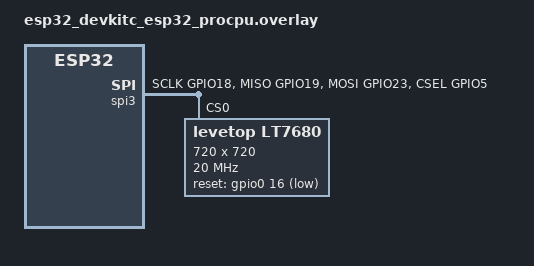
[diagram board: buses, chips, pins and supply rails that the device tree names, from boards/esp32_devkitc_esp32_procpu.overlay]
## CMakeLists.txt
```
cmake_minimum_required(VERSION 3.20.0)
find_package(Zephyr REQUIRED HINTS $ENV{ZEPHYR_BASE})
project(er_tft395_demo)

target_sources(app PRIVATE src/main.c src/lt7680_hw.c src/nv3052.c src/pic80.c)
target_include_directories(app PRIVATE src)
```

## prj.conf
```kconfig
CONFIG_LOG=y
CONFIG_SPI=y
CONFIG_GPIO=y

# Upstream LT7680 driver: PLL/SDRAM/panel timing/blanking/blit (display API)
CONFIG_DISPLAY=y
CONFIG_DISPLAY_LOG_LEVEL_INF=y
# one SPI transaction per pixel burst instead of polling the FIFO per byte
CONFIG_LT7680_TRANSMIT_DATA_AS_BURST=y

CONFIG_MAIN_STACK_SIZE=4096
```

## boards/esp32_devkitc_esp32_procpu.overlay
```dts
/*
 * ER-TFT3.95-1 (LT7680 + 720x720 RGB panel) on ESP32-WROOM-32 DevKitC
 * Values taken from the EastRising ESP32 tutorial (Display_DMA_Cartoon_Font_test: LCD.h, LCD.cpp, .ino).
 *
 * Wiring (from the tutorial):
 *   LT7680 SPI : CS=GPIO5  MISO=GPIO19  MOSI=GPIO23  SCK=GPIO18  RES=GPIO16
 *   Panel init : CS=GPIO14  SDI=GPIO12  SCK=GPIO13   (separate 9-bit SPI, see note at bottom)
 *
 * Build (from the project root):
 *   west build -b esp32_devkitc/esp32/procpu .
 */

#include <zephyr/dt-bindings/gpio/gpio.h>
#include <zephyr/dt-bindings/spi/spi.h>

&pinctrl {
	spim3_default: spim3_default {
		group1 {
			pinmux = <SPIM3_SCLK_GPIO18>,
				 <SPIM3_MISO_GPIO19>,
				 <SPIM3_MOSI_GPIO23>;
		};
		group2 {
			pinmux = <SPIM3_CSEL_GPIO5>;
			output-high;
		};
	};
};

&spi3 {
	status = "okay";
	pinctrl-0 = <&spim3_default>;
	pinctrl-names = "default";

	lt7680: lt7680@0 {
		compatible = "levetop,lt7680";
		zephyr,deferred-init;
		reg = <0>;
		spi-max-frequency = <20000000>;     /* tutorial: SPISettings(20000000, MSBFIRST, SPI_MODE0) */

		width = <720>;                      /* LCD_XSIZE_TFT */
		height = <720>;                     /* LCD_YSIZE_TFT */
		x-offset = <0>;
		y-offset = <0>;
		reset-gpios = <&gpio0 16 GPIO_ACTIVE_LOW>;   /* LCM_RESET = 16 */
		reset-delay-ms = <100>;
		rotation = <0>;

		/*
		 * Panel timing from LCD.h. The driver also checks that the
		 * "clock-frequency" it is given is the 10 MHz crystal (OSC_FREQ 10 in
		 * the tutorial). UNVERIFIED: I could not read how the driver binds
		 * these (child node vs. properties on the lt7680 node). If the build
		 * complains, check drivers/display/display_lt7680.c in your tree and
		 * move these properties to wherever it reads them.
		 */
		display-timings {
			compatible = "zephyr,panel-timing";
			clock-frequency = <10000000>;
			hsync-len = <5>;       /* LCD_HSPW */
			hfront-porch = <15>;   /* LCD_HFPD */
			hback-porch = <80>;    /* LCD_HBPD */
			vsync-len = <5>;       /* LCD_VSPW */
			vfront-porch = <15>;   /* LCD_VFPD */
			vback-porch = <20>;    /* LCD_VBPD */
			hsync-active = <0>;    /* LCD_HSYNC_Active_Polarity */
			vsync-active = <0>;    /* LCD_VSYNC_Active_Polarity */
			de-active = <1>;       /* LCD_DE_Active_Polarity */
			pixelclk-active = <0>; /* LCD_PCLK_Falling_Rising = rising */
		};
	};
};

/ {
	chosen {
		zephyr,display = &lt7680;
	};
};

/*
 * NOTE: the tutorial's LCD_init.h (nv3052_Initial, ~158 command/data pairs for the
 * NV3052 panel controller) is sent over a bit-banged 9-bit SPI (CS=14, SDI=12, SCK=13) before the
 * LT7680 output is useful. The upstream Zephyr driver does not do this, so
 * the app must replay that sequence (e.g. a small GPIO bit-bang routine) at boot.
 */
```

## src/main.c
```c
/*
 * Zephyr port of EastRising's Display_DMA_Cartoon_Font_test (ER-TFT3.95-1,
 * ESP32).
 *
 * Split of responsibilities:
 *   - upstream driver (display API): PLL, SDRAM, panel timing, blanking, pixel
 * blit
 *   - nv3052.c:                      panel controller init over bit-banged
 * 9-bit SPI
 *   - lt7680_hw.c:                   LT7680 2D engine, BTE, flash DMA,
 * CGROM/external fonts
 *
 * The flash image FLASH_bin/PicFlashFont.bin must already be programmed into
 * the serial flash attached to the LT7680 (see the tutorial's "READ ME"); the
 * ESP32 never touches that flash.
 */
#include "lt7680_hw.h"
#include "nv3052.h"
#include "pic80.h"
#include <zephyr/device.h>
#include <zephyr/drivers/display.h>
#include <zephyr/kernel.h>
#include <zephyr/logging/log.h>

LOG_MODULE_REGISTER(app, LOG_LEVEL_INF);

#define W LCD_XSIZE_TFT
#define H LCD_YSIZE_TFT

/* Flash map (PicFlashFont-Addr.txt) */
#define Picture_1_Addr 0x00000000u
#define Cartoon_Addr 0x003F4800u
#define FLASH_ADDR_16 0x005AA398u
#define FLASH_ADDR_24 0x005EB798u
#define FLASH_ADDR_32 0x0067E498u

#define SIZE_16_NUM 267264u
#define SIZE_24_NUM 601344u
#define SIZE_32_NUM 1069056u

#define MEMORY_ADDR_16 layer5_start_addr
#define MEMORY_ADDR_24 (MEMORY_ADDR_16 + SIZE_16_NUM)
#define MEMORY_ADDR_32 (MEMORY_ADDR_24 + SIZE_24_NUM)

#define BL_PIN 26

static const struct device *const disp =
    DEVICE_DT_GET(DT_CHOSEN(zephyr_display));

/* GBK string from the tutorial */
static const uint8_t gbk_str[] = {0xD0, 0xF1, 0xC8, 0xD5, 0xB6, 0xAB, 0xB7,
                                  0xBD, 0xBF, 0xC6, 0xBC, 0xBC, 0x00};

static uint16_t pic_px[80 * 80]; /* pic_80x80 converted to native RGB565 for
                                    display_write() */

/* ------------------------------------------------------------------ helpers */

static void layer1_setup(uint32_t canvas_addr) {
  lt_main_window_16bpp();
  lt_main_image(layer1_start_addr, W);
  lt_main_window_xy(0, 0);
  lt_canvas(canvas_addr, W);
  lt_active_xy(0, 0);
  lt_active_wh(W, H);
}

static void clear_black(void) {
  lt_fg(Black);
  lt_fill_rect(0, 0, W - 1, H - 1, Black);
}

/* Blit the 80x80 picture through the upstream display API */
static void show_pic(uint16_t x, uint16_t y) {
  const struct display_buffer_descriptor d = {
      .buf_size = sizeof(pic_px),
      .width = 80,
      .height = 80,
      .pitch = 80,
  };

  display_write(disp, x, y, &d, pic_px);
}

/* ------------------------------------------------------------------- demos */

static void demo_colors(void) {
  static const uint16_t c[] = {Red,    Green,  Blue,  Cyan,
                               Yellow, Purple, Black, White};

  layer1_setup(0);
  for (int i = 0; i < ARRAY_SIZE(c); i++) {
    lt_fill_rect(0, 0, W, H, c[i]);
    k_msleep(1000);
  }
}

/* grow, then erase, using one engine primitive */
#define GROW_ERASE(step_max, color, body)                                      \
  do {                                                                         \
    for (int i = 0; i <= (step_max); i += 8) {                                 \
      lt_fg(color);                                                            \
      body;                                                                    \
      k_msleep(10);                                                            \
    }                                                                          \
    for (int i = 0; i <= (step_max); i += 8) {                                 \
      lt_fg(Black);                                                            \
      body;                                                                    \
      k_msleep(10);                                                            \
    }                                                                          \
    k_msleep(100);                                                             \
  } while (0)

static void demo_shapes(void) {
  layer1_setup(layer1_start_addr);

  clear_black();
  GROW_ERASE(W / 2 - 10, Red, lt_rect(i, i, W - 1 - i, H - 1 - i));

  clear_black();
  GROW_ERASE(W / 2 - 10, Green,
             lt_round_rect(i, i, W - 1 - i, H - 1 - i, 10, 10));

  clear_black();
  GROW_ERASE(W / 2 - 10, Blue, lt_circle(W / 2, H / 2, i));

  clear_black();
  GROW_ERASE(W / 2 - 100, White, lt_ellipse(W / 2, H / 2, i + 100, i));

  clear_black();
  GROW_ERASE(W / 2 - 10, Yellow,
             lt_triangle(W / 2, i, i, H - 1 - i, W - 1 - i, H - 1 - i));

  clear_black();
  /* lines: two sweeps in red, then erased in black */
  for (int pass = 0; pass < 2; pass++) {
    uint16_t col = pass ? Black : Red;

    lt_fg(col);
    for (int i = 0; i <= W; i += 8) {
      lt_line(i, 0, W - 1 - i, H - 1);
      k_msleep(10);
    }
    for (int i = 0; i <= H; i += 8) {
      lt_line(0, H - 1 - i, W - 1, i);
      k_msleep(10);
    }
  }
  k_msleep(100);
}

static void demo_internal_text(void) {
  layer1_setup(layer1_start_addr);
  clear_black();

  lt_bg(Black);
  lt_fg(Red);
  lt_cgrom_internal();
  lt_font_select(LT_FONT_8x16);
  lt_text_xy(0, 10);
  lt_show_string("buydisplay.com");

  lt_fg(Green);
  lt_font_select(LT_FONT_12x24);
  lt_text_xy(0, 26);
  lt_show_string("buydisplay.com");

  lt_fg(Blue);
  lt_font_select(LT_FONT_16x32);
  lt_text_xy(0, 50);
  lt_show_string("buydisplay.com");

  lt_fg(Yellow);
  lt_font_scale(4, 4);
  lt_text_xy(0, 90);
  lt_show_string("buydisplay.com");
  k_msleep(2000);
}

static void ext_font_row(uint16_t y, uint16_t fg, uint16_t bg, uint8_t scale) {
  lt_font_scale(scale, scale);
  lt_ext_font_print(0, y, fg, bg, gbk_str);
}

static void demo_external_font(void) {
  layer1_setup(0);
  lt_fill_rect(0, 0, W, H, Black);

  /* 16x16 */
  lt_ext_font_init(1, 0, FLASH_ADDR_16, MEMORY_ADDR_16, SIZE_16_NUM,
                   LT_FONT_8x16, 1, 1, false, false);
  lt_ext_font_print(0, 50, Red, White, gbk_str);
  ext_font_row(75, LIGHTRED, Black, 2);
  ext_font_row(120, Blue, White, 3);
  ext_font_row(178, Purple, Black, 4);
  k_msleep(3000);

  /* 24x24 */
  lt_ext_font_init(1, 0, FLASH_ADDR_24, MEMORY_ADDR_24, SIZE_24_NUM,
                   LT_FONT_12x24, 1, 1, false, false);
  lt_fill_rect(0, 0, W, H, Blue);
  lt_ext_font_print(0, 20, Red, White, gbk_str);
  ext_font_row(55, Green, Black, 2);
  ext_font_row(115, Cyan, White, 3);
  ext_font_row(195, Yellow, Black, 4);
  k_msleep(3000);

  /* 32x32 */
  lt_ext_font_init(1, 0, FLASH_ADDR_32, MEMORY_ADDR_32, SIZE_32_NUM,
                   LT_FONT_16x32, 1, 1, false, false);
  lt_fill_rect(0, 0, W, H, White);
  lt_ext_font_print(0, 55, Red, White, gbk_str);
  ext_font_row(115, Green, Black, 2);
  ext_font_row(200, Blue, White, 3);
  ext_font_row(310, Yellow, Black, 4);
  k_msleep(3000);
}

static void demo_bte(void) {
  layer1_setup(0);

  lt_fg(Black);
  lt_fill_rect(0, 0, W - 1, H - 25, Black);
  lt_fill_rect(0, H - 24, W - 1, H - 1, Blue);

  lt_fg(White);
  lt_bg(Blue);
  lt_cgrom_internal();
  lt_font_scale(1, 1);
  lt_font_select(LT_FONT_12x24);
  lt_text_xy(0, H - 24);
  lt_show_string("  Demo BTE Compare");

  lt_fg(Black);
  lt_bg(White);
  lt_font_select(LT_FONT_8x16);
  lt_text_xy(0, H - 48);
  lt_show_string("Execute Logic 'OR' 0xf000");

  /* three copies of the picture via the upstream display_write() */
  show_pic(20, 40);
  show_pic(120, 40);
  show_pic(220, 40);

  lt_active_xy(0, 0);
  lt_active_wh(W, H);
  lt_fg(Black);
  lt_bg(White);
  lt_cgrom_internal();
  lt_font_select(LT_FONT_8x16);
  lt_text_xy(20, 130);
  lt_show_string("Without BTE");
  lt_text_xy(120, 130);
  lt_show_string("BTE Write");
  lt_text_xy(120, 150);
  lt_show_string("ROP");
  lt_text_xy(220, 130);
  lt_show_string("BTE Move");
  lt_text_xy(220, 150);
  lt_show_string("ROP");
  k_msleep(1000);

  /* 1) MCU read-modify-write: OR 0xf000 into first picture (raw memory port) */
  lt_active_xy(20, 40);
  lt_active_wh(80, 80);
  lt_goto_pixel(20, 40);
  lt_mem_port_select();
  (void)lt_data_read(); /* dummy */
  lt_wait_rd_fifo_not_empty();
  for (int i = 0; i < 80 * 80; i++) {
    uint16_t px = lt_data_read();

    px |= (uint16_t)lt_data_read() << 8;
    lt_wait_rd_fifo_not_empty();
    px |= 0xf000;
    lt_data_write(px & 0xff);
    lt_data_write(px >> 8);
    lt_wait_wr_fifo_not_full();
  }
  lt_active_xy(0, 0);
  lt_active_wh(W, H);
  k_msleep(1000);

  /* 2) BTE write with ROP: stream 0xf000 into the second picture */
  lt_bte_setup_16bpp(0, W, 120, 40, 0, W, 120, 40, 80, 80, 14, 0);
  lt_bte_enable();
  lt_mem_port_select();
  for (int i = 0; i < 80 * 80; i++) {
    lt_data_write(0xf000 & 0xff);
    lt_data_write(0xf000 >> 8);
    lt_wait_wr_fifo_not_full();
  }
  lt_wait_wr_fifo_empty();
  lt_wait_2d_idle();
  k_msleep(1000);

  /* 3) BTE move with ROP using a red source block on layer 2 */
  lt_canvas(layer2_start_addr, W);
  lt_active_xy(0, 0);
  lt_active_wh(W, H);
  lt_fg(0xf000);
  lt_bg(Black);
  lt_fill_rect(0, 40, 80, 120, 0xf000);

  lt_bte_copy(layer2_start_addr, W, 0, 40, layer1_start_addr, W, 220, 40,
              layer1_start_addr, W, 220, 40, 14, 80, 80);
  k_msleep(1000);
  lt_bte_disable();
}

static void demo_dma_pictures(void) {
  layer1_setup(layer1_start_addr);
  clear_black();

  for (uint32_t im = 0; im < 4; im++) {
    lt_dma_block(1, 0, 0, 0, W, H, W, im * W * H * 2);
    k_msleep(2000);
  }
}

static void demo_cartoon(void) {
  layer1_setup(layer2_start_addr);
  /* main window shows layer 2 */
  lt_main_image(layer2_start_addr, W);
  lt_fill_rect(0, 0, W, H, Blue);
  lt_dma_block(1, 0, 0, 0, W, H, W, Picture_1_Addr);

  /* 30 frames of 223x134 stacked vertically on layer 3 */
  lt_canvas(layer3_start_addr, 223);
  lt_dma_block(1, 0, 0, 0, 223, 134 * 30, 223, Cartoon_Addr);

  while (1) {
    for (int i = 0; i < 30; i++) {
      lt_bte_copy(layer3_start_addr, 223, 0, 134 * i, layer3_start_addr, 223, 0,
                  134 * i, layer2_start_addr, W, 10, 53, 0x0C, 220, 134);
      k_msleep(40);
    }
  }
}

/* -------------------------------------------------------------------- main */
#include <zephyr/drivers/gpio.h>
int main(void) {
  k_msleep(500);
  int ret = -EAGAIN;
  for (int try = 0; try < 5 && ret; try++) {
    ret = device_init(disp);
    if (ret == -EALREADY) {
      ret = 0;
    } else if (ret) {
      LOG_WRN("Retrying...");
      k_msleep(300);
    }
  }

  if (ret || !device_is_ready(disp)) {
    LOG_ERR("LT7680 display driver not ready");
    return 0;
  }

  const struct gpio_dt_spec bl = {.port = DEVICE_DT_GET(DT_NODELABEL(gpio0)),
                                  .pin = BL_PIN,
                                  .dt_flags = GPIO_ACTIVE_HIGH};
  gpio_pin_configure_dt(&bl, GPIO_OUTPUT_ACTIVE);

  /* big-endian pixel pairs -> native uint16 (driver pushes low byte first) */
  for (int i = 0; i < 80 * 80; i++) {
    pic_px[i] = ((uint16_t)pic_80x80[2 * i] << 8) | pic_80x80[2 * i + 1];
  }

  ret = nv3052_init();

  if (ret) {
    LOG_ERR("panel init failed: %d", ret);
    return 0;
  }

  ret = display_set_pixel_format(disp, PIXEL_FORMAT_RGB_565);
  if (ret && ret != -ENOSYS) {
    LOG_ERR("set pixel format failed: %d", ret);
  }
  display_blanking_off(disp); /* = Arduino Display_ON() */

  while (1) {
    demo_colors();
    demo_shapes();
    demo_internal_text();
    demo_external_font();
    demo_bte();
    demo_dma_pictures();
    demo_cartoon(); /* never returns, as in the original */
  }
}
```

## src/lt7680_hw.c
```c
#include <zephyr/kernel.h>
#include <zephyr/drivers/spi.h>
#include <zephyr/logging/log.h>
#include "lt7680_hw.h"

LOG_MODULE_REGISTER(lt7680_hw, LOG_LEVEL_INF);

/* Same SPI device node the upstream display driver uses. */
static const struct spi_dt_spec spi =
	SPI_DT_SPEC_GET(DT_NODELABEL(lt7680), SPI_WORD_SET(8) | SPI_TRANSFER_MSB);

/*
 * LT768x SPI protocol (see upstream driver header comment):
 *   select index : [0x00, reg]
 *   write data   : [0x80, val]
 *   read data    : [0xC0, 0xFF] -> rx[1]
 *   read status  : [0x40, 0xFF] -> rx[1]
 * Each is its own chip-select cycle.
 */
static void spi_tx2(uint8_t a, uint8_t b)
{
	uint8_t tx[2] = {a, b};
	struct spi_buf buf = {.buf = tx, .len = 2};
	struct spi_buf_set set = {.buffers = &buf, .count = 1};

	if (spi_write_dt(&spi, &set) < 0) {
		LOG_ERR("spi write failed");
	}
}

static uint8_t spi_rx2(uint8_t a)
{
	uint8_t tx[2] = {a, 0xFF};
	uint8_t rx[2] = {0, 0};
	struct spi_buf txb = {.buf = tx, .len = 2};
	struct spi_buf rxb = {.buf = rx, .len = 2};
	struct spi_buf_set txs = {.buffers = &txb, .count = 1};
	struct spi_buf_set rxs = {.buffers = &rxb, .count = 1};

	if (spi_transceive_dt(&spi, &txs, &rxs) < 0) {
		LOG_ERR("spi read failed");
	}
	return rx[1];
}

void lt_cmd(uint8_t reg)        { spi_tx2(0x00, reg); }
void lt_data_write(uint8_t v)   { spi_tx2(0x80, v); }
uint8_t lt_data_read(void)      { return spi_rx2(0xC0); }
uint8_t lt_status(void)         { return spi_rx2(0x40); }

void lt_reg_write(uint8_t reg, uint8_t v)
{
	lt_cmd(reg);
	lt_data_write(v);
}

void lt_reg_update(uint8_t reg, uint8_t clear_mask, uint8_t set_mask)
{
	lt_cmd(reg);
	uint8_t t = lt_data_read();

	t &= ~clear_mask;
	t |= set_mask;
	lt_data_write(t);
}

static void wait_status(uint8_t mask, bool want_set, const char *what)
{
	int64_t end = k_uptime_get() + 5000;

	while (((lt_status() & mask) != 0) != want_set) {
		if (k_uptime_get() > end) {
			LOG_ERR("timeout waiting for %s", what);
			return;
		}
	}
}

void lt_wait_wr_fifo_not_full(void)  { wait_status(0x80, false, "WR FIFO not full"); }
void lt_wait_wr_fifo_empty(void)     { wait_status(0x40, true, "WR FIFO empty"); }
void lt_wait_rd_fifo_not_empty(void) { wait_status(0x10, false, "RD FIFO not empty"); }
void lt_wait_2d_idle(void)           { wait_status(0x08, false, "2D/BTE idle"); }

static void reg16(uint8_t reg, uint16_t v)
{
	lt_reg_write(reg, v & 0xFF);
	lt_reg_write(reg + 1, v >> 8);
}

static void reg32(uint8_t reg, uint32_t v)
{
	for (int i = 0; i < 4; i++) {
		lt_reg_write(reg + i, (v >> (8 * i)) & 0xFF);
	}
}

/* ---- windows / layers ---- */
void lt_main_window_16bpp(void)            { lt_reg_update(0x10, BIT(3), BIT(2)); }
void lt_main_image(uint32_t a, uint16_t w) { reg32(0x20, a); reg16(0x24, w); }
void lt_main_window_xy(uint16_t x, uint16_t y) { reg16(0x26, x); reg16(0x28, y); }
void lt_canvas(uint32_t a, uint16_t w)     { reg32(0x50, a); reg16(0x54, w); }
void lt_active_xy(uint16_t x, uint16_t y)  { reg16(0x56, x); reg16(0x58, y); }
void lt_active_wh(uint16_t w, uint16_t h)  { reg16(0x5A, w); reg16(0x5C, h); }
void lt_goto_pixel(uint16_t x, uint16_t y) { reg16(0x5F, x); reg16(0x61, y); }

/* ---- drawing engine ---- */
void lt_fg(uint16_t c)
{
	lt_reg_write(0xD2, c >> 8);
	lt_reg_write(0xD3, (c >> 3) & 0xFF);
	lt_reg_write(0xD4, (c << 3) & 0xFF);
}

void lt_bg(uint16_t c)
{
	lt_reg_write(0xD5, c >> 8);
	lt_reg_write(0xD6, (c >> 3) & 0xFF);
	lt_reg_write(0xD7, (c << 3) & 0xFF);
}

static void p1(uint16_t x, uint16_t y) { reg16(0x68, x); reg16(0x6A, y); }
static void p2(uint16_t x, uint16_t y) { reg16(0x6C, x); reg16(0x6E, y); }
static void p3(uint16_t x, uint16_t y) { reg16(0x70, x); reg16(0x72, y); }
static void radius(uint16_t rx, uint16_t ry) { reg16(0x77, rx); reg16(0x79, ry); }

static void start(uint8_t reg, uint8_t v)
{
	lt_reg_write(reg, v);
	lt_wait_2d_idle();
}

void lt_fill_rect(uint16_t x1, uint16_t y1, uint16_t x2, uint16_t y2, uint16_t color)
{
	lt_fg(color);
	p1(x1, y1);
	p2(x2, y2);
	start(0x76, 0xE0);
}

void lt_rect(uint16_t x1, uint16_t y1, uint16_t x2, uint16_t y2)
{
	p1(x1, y1);
	p2(x2, y2);
	start(0x76, 0xA0);
}

void lt_round_rect(uint16_t x1, uint16_t y1, uint16_t x2, uint16_t y2, uint16_t rx, uint16_t ry)
{
	p1(x1, y1);
	p2(x2, y2);
	radius(rx, ry);
	start(0x76, 0xB0);
}

void lt_circle(uint16_t cx, uint16_t cy, uint16_t r)
{
	reg16(0x7B, cx);
	reg16(0x7D, cy);
	radius(r, r);
	start(0x76, 0x80);
}

void lt_ellipse(uint16_t cx, uint16_t cy, uint16_t rx, uint16_t ry)
{
	reg16(0x7B, cx);
	reg16(0x7D, cy);
	radius(rx, ry);
	start(0x76, 0x80);
}

void lt_triangle(uint16_t x1, uint16_t y1, uint16_t x2, uint16_t y2, uint16_t x3, uint16_t y3)
{
	p1(x1, y1);
	p2(x2, y2);
	p3(x3, y3);
	start(0x67, 0x82);
}

void lt_line(uint16_t x1, uint16_t y1, uint16_t x2, uint16_t y2)
{
	p1(x1, y1);
	p2(x2, y2);
	start(0x67, 0x80);
}

/* ---- text ---- */
static void text_mode(bool on)
{
	if (on) {
		lt_reg_update(0x03, 0, BIT(2));
	} else {
		lt_reg_update(0x03, BIT(2), 0);
	}
}

void lt_mem_port_select(void) { lt_cmd(0x04); }

void lt_cgrom_internal(void)     { lt_reg_update(0xCC, BIT(7) | BIT(6), 0); }
static void user_font_mode(void) { lt_reg_update(0xCC, BIT(6), BIT(7)); }

void lt_font_select(enum lt_font f)
{
	switch (f) {
	case LT_FONT_8x16:  lt_reg_update(0xCC, BIT(5) | BIT(4), 0); break;
	case LT_FONT_12x24: lt_reg_update(0xCC, BIT(5), BIT(4)); break;
	case LT_FONT_16x32: lt_reg_update(0xCC, BIT(4), BIT(5)); break;
	}
}

void lt_font_scale(uint8_t xn, uint8_t yn)
{
	/* 0xCD: bits[3:2] width-1, bits[1:0] height-1 */
	lt_reg_update(0xCD, 0x0F, (((xn - 1) & 3) << 2) | ((yn - 1) & 3));
}

void lt_text_xy(uint16_t x, uint16_t y) { reg16(0x63, x); reg16(0x65, y); }

void lt_show_string(const char *s)
{
	text_mode(true);
	lt_mem_port_select();
	for (; *s; s++) {
		lt_data_write(*s);
		lt_wait_wr_fifo_not_full();
	}
	lt_wait_2d_idle();
	text_mode(false);
}

/* ---- serial flash DMA ---- */
static void sfi_common(uint8_t scs, uint8_t clk)
{
	lt_reg_update(0x01, 0, BIT(1));                       /* enable SFlash SPI */
	if (scs == 0) {
		lt_reg_update(0xB7, BIT(7), 0);
	} else {
		lt_reg_update(0xB7, 0, BIT(7));
	}
	lt_reg_update(0xB7, 0, BIT(6));                       /* DMA mode */
	lt_reg_write(0xBB, clk);                              /* SPI clock period */
}

static void sfi_wait_idle(void)
{
	int64_t end = k_uptime_get() + 20000;

	lt_cmd(0xB6);
	while (lt_data_read() & 0x01) {
		if (k_uptime_get() > end) {
			LOG_ERR("SFI DMA timeout");
			return;
		}
	}
}

static void sfi_src_addr(uint32_t a)  { reg32(0xBC, a); }

void lt_dma_block(uint8_t scs, uint8_t clk, uint16_t x, uint16_t y, uint16_t w, uint16_t h,
		  uint16_t src_w, uint32_t flash_addr)
{
	sfi_common(scs, clk);
	lt_reg_update(0x5E, BIT(2), 0);                       /* XY (block) mode */
	lt_goto_pixel(x, y);
	reg16(0xC0, x);                                       /* dest upper-left */
	reg16(0xC2, y);
	reg16(0xC6, w);                                       /* transfer w/h */
	reg16(0xC8, h);
	reg16(0xCA, src_w);
	sfi_src_addr(flash_addr);
	lt_reg_update(0xB6, 0, BIT(0));                       /* start */
	sfi_wait_idle();
}

void lt_dma_linear(uint8_t scs, uint8_t clk, uint32_t flash_addr, uint32_t mem_addr, uint32_t num)
{
	sfi_common(scs, clk);
	lt_reg_update(0x5E, 0, BIT(2));                       /* linear mode */
	reg32(0xC0, mem_addr);                                /* dest start */
	reg32(0xC6, num);                                     /* transfer number */
	sfi_src_addr(flash_addr);
	sfi_wait_idle();
	lt_reg_update(0xB6, 0, BIT(0));
	sfi_wait_idle();
	lt_reg_update(0x5E, BIT(2), 0);                       /* back to XY mode */
}

/* ---- external font ---- */
void lt_ext_font_init(uint8_t scs, uint8_t clk, uint32_t flash_addr, uint32_t mem_addr,
		      uint32_t num, enum lt_font size, uint8_t xn, uint8_t yn,
		      bool transparent_bg, bool align)
{
	lt_font_select(size);
	lt_font_scale(xn, yn);
	lt_reg_update(0xCD, BIT(6), transparent_bg ? BIT(6) : 0);
	lt_reg_update(0xCD, BIT(7), align ? BIT(7) : 0);
	lt_dma_linear(scs, clk, flash_addr, mem_addr, num);
	reg32(0xDB, mem_addr);                                /* CGRAM start address */
}

void lt_ext_font_print(uint16_t x, uint16_t y, uint16_t fg, uint16_t bg, const uint8_t *c)
{
	text_mode(true);
	user_font_mode();
	lt_fg(fg);
	lt_bg(bg);
	lt_text_xy(x, y);

	for (unsigned int i = 0; c[i] != '\0';) {
		if (c[i] < 0xa1) {
			lt_cgrom_internal();
			lt_mem_port_select();
			lt_data_write(c[i]);
			lt_wait_wr_fifo_not_full();
			i += 1;
		} else {
			user_font_mode();
			lt_mem_port_select();
			uint16_t t = ((c[i] - 0xa1) & 0xff) * 94 + (c[i + 1] - 0xa1) + 0x8000;

			lt_data_write(t >> 8);
			lt_wait_wr_fifo_not_full();
			lt_data_write(t & 0xff);
			lt_wait_wr_fifo_not_full();
			i += 2;
		}
	}
	lt_wait_2d_idle();
	text_mode(false);
}

/* ---- BTE ---- */
void lt_bte_enable(void)  { lt_reg_update(0x90, 0, BIT(4)); }
void lt_bte_disable(void) { lt_reg_update(0x90, BIT(4), 0); }

static void bte_colors_16bpp(void)
{
	lt_reg_update(0x92, BIT(6), BIT(5));                  /* S0 16bpp */
	lt_reg_update(0x92, BIT(4) | BIT(3), BIT(2));         /* S1 16bpp */
	lt_reg_update(0x92, BIT(1), BIT(0));                  /* dest 16bpp */
}

static void bte_rop_op(uint8_t rop, uint8_t op)
{
	lt_reg_update(0x91, 0xF0, (rop << 4) & 0xF0);
	lt_reg_update(0x91, 0x0F, op & 0x0F);
}

void lt_bte_setup_16bpp(uint32_t s1_addr, uint16_t s1_w, uint16_t xs1, uint16_t ys1,
			uint32_t d_addr, uint16_t d_w, uint16_t xd, uint16_t yd,
			uint16_t w, uint16_t h, uint8_t rop, uint8_t op)
{
	bte_colors_16bpp();
	reg32(0x9D, s1_addr);
	reg16(0xA1, s1_w);
	reg16(0xA3, xs1);
	reg16(0xA5, ys1);
	reg32(0xA7, d_addr);
	reg16(0xAB, d_w);
	reg16(0xAD, xd);
	reg16(0xAF, yd);
	reg16(0xB1, w);
	reg16(0xB3, h);
	bte_rop_op(rop, op);
}

void lt_bte_copy(uint32_t s0_addr, uint16_t s0_w, uint16_t xs0, uint16_t ys0,
		 uint32_t s1_addr, uint16_t s1_w, uint16_t xs1, uint16_t ys1,
		 uint32_t d_addr, uint16_t d_w, uint16_t xd, uint16_t yd,
		 uint8_t rop, uint16_t w, uint16_t h)
{
	reg32(0x93, s0_addr);
	reg16(0x97, s0_w);
	reg16(0x99, xs0);
	reg16(0x9B, ys0);
	lt_bte_setup_16bpp(s1_addr, s1_w, xs1, ys1, d_addr, d_w, xd, yd, w, h, rop, 0x02);
	lt_bte_enable();
	lt_wait_2d_idle();
}
```

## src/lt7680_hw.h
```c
/*
 * Thin register-level layer for the LT7680 engine features that the upstream
 * Zephyr display driver (drivers/display/display_lt7680.c) does not expose through
 * the display API: 2D drawing engine, BTE, serial-flash DMA, CGROM / external fonts.
 *
 * It talks to the same SPI device node as the driver. The driver is only used
 * through display_*() calls from the same thread, so accesses never overlap.
 * Names follow the EastRising Arduino library (ER_TFT.*) to ease comparison.
 */
#ifndef LT7680_HW_H_
#define LT7680_HW_H_

#include <stdint.h>
#include <stdbool.h>

/* ---- panel geometry / memory map (from the tutorial's LCD.h) ---- */
#define LCD_XSIZE_TFT 720
#define LCD_YSIZE_TFT 720

#define layer1_start_addr 0u
#define layer2_start_addr 1036800u
#define layer3_start_addr 2073600u
#define layer4_start_addr 3110400u
#define layer5_start_addr 4147200u

/* RGB565 colours */
#define Black   0x0000
#define White   0xffff
#define Red     0xf800
#define Green   0x07e0
#define Blue    0x001f
#define Yellow  (Red | Green)
#define Cyan    (Green | Blue)
#define Purple  (Red | Blue)
#define LIGHTRED 0xfc10

/* ---- raw access ---- */
void lt_cmd(uint8_t reg);                 /* select register index */
void lt_data_write(uint8_t v);            /* write to selected index */
uint8_t lt_data_read(void);               /* read from selected index */
uint8_t lt_status(void);
void lt_reg_write(uint8_t reg, uint8_t v);
void lt_reg_update(uint8_t reg, uint8_t clear_mask, uint8_t set_mask);

void lt_wait_wr_fifo_not_full(void);
void lt_wait_wr_fifo_empty(void);
void lt_wait_rd_fifo_not_empty(void);
void lt_wait_2d_idle(void);               /* also used for BTE busy */

/* ---- windows / layers ---- */
void lt_main_window_16bpp(void);
void lt_main_image(uint32_t addr, uint16_t width);
void lt_main_window_xy(uint16_t x, uint16_t y);
void lt_canvas(uint32_t addr, uint16_t width);
void lt_active_xy(uint16_t x, uint16_t y);
void lt_active_wh(uint16_t w, uint16_t h);
void lt_goto_pixel(uint16_t x, uint16_t y);

/* ---- drawing engine ---- */
void lt_fg(uint16_t rgb565);
void lt_bg(uint16_t rgb565);
void lt_fill_rect(uint16_t x1, uint16_t y1, uint16_t x2, uint16_t y2, uint16_t color);
void lt_rect(uint16_t x1, uint16_t y1, uint16_t x2, uint16_t y2);          /* outline, uses fg */
void lt_round_rect(uint16_t x1, uint16_t y1, uint16_t x2, uint16_t y2, uint16_t rx, uint16_t ry);
void lt_circle(uint16_t cx, uint16_t cy, uint16_t r);
void lt_ellipse(uint16_t cx, uint16_t cy, uint16_t rx, uint16_t ry);
void lt_triangle(uint16_t x1, uint16_t y1, uint16_t x2, uint16_t y2, uint16_t x3, uint16_t y3);
void lt_line(uint16_t x1, uint16_t y1, uint16_t x2, uint16_t y2);

/* ---- text ---- */
enum lt_font { LT_FONT_8x16, LT_FONT_12x24, LT_FONT_16x32 };
void lt_cgrom_internal(void);
void lt_font_select(enum lt_font f);
void lt_font_scale(uint8_t xn, uint8_t yn);                     /* 1..4 */
void lt_text_xy(uint16_t x, uint16_t y);
void lt_show_string(const char *s);

/* external (flash) font */
void lt_ext_font_init(uint8_t scs, uint8_t clk, uint32_t flash_addr, uint32_t mem_addr,
		      uint32_t num, enum lt_font size, uint8_t xn, uint8_t yn,
		      bool transparent_bg, bool align);
void lt_ext_font_print(uint16_t x, uint16_t y, uint16_t fg, uint16_t bg, const uint8_t *gbk);

/* ---- BTE ---- */
void lt_bte_copy(uint32_t s0_addr, uint16_t s0_w, uint16_t xs0, uint16_t ys0,
		 uint32_t s1_addr, uint16_t s1_w, uint16_t xs1, uint16_t ys1,
		 uint32_t d_addr, uint16_t d_w, uint16_t xd, uint16_t yd,
		 uint8_t rop, uint16_t w, uint16_t h);
void lt_bte_setup_16bpp(uint32_t s1_addr, uint16_t s1_w, uint16_t xs1, uint16_t ys1,
			uint32_t d_addr, uint16_t d_w, uint16_t xd, uint16_t yd,
			uint16_t w, uint16_t h, uint8_t rop, uint8_t op);
void lt_bte_enable(void);
void lt_bte_disable(void);

/* ---- serial-flash DMA (flash attached to the LT7680's own SPI master) ---- */
void lt_dma_block(uint8_t scs, uint8_t clk, uint16_t x, uint16_t y, uint16_t w, uint16_t h,
		  uint16_t src_w, uint32_t flash_addr);
void lt_dma_linear(uint8_t scs, uint8_t clk, uint32_t flash_addr, uint32_t mem_addr,
		   uint32_t num);

/* raw memory-port streaming (index 0x04) */
void lt_mem_port_select(void);

#endif
```

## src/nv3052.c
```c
/*
 * NV3052 panel init for ER-TFT3.95-1 (BOE 720x720), ported from the EastRising
 * Arduino tutorial (LCD_init.h). 3-wire, 9-bit SPI: first bit = D/C (0=cmd, 1=data).
 */
#include <zephyr/kernel.h>
#include <zephyr/drivers/gpio.h>
#include "nv3052.h"

/* Panel-init pins on GPIO0 port (DevKitC wiring from the tutorial) */
#define PIN_CS  14
#define PIN_SCK 13
#define PIN_SDI 12

static const struct gpio_dt_spec cs  = { .port = DEVICE_DT_GET(DT_NODELABEL(gpio0)), .pin = PIN_CS,  .dt_flags = GPIO_ACTIVE_HIGH };
static const struct gpio_dt_spec clk = { .port = DEVICE_DT_GET(DT_NODELABEL(gpio0)), .pin = PIN_SCK, .dt_flags = GPIO_ACTIVE_HIGH };
static const struct gpio_dt_spec sdi = { .port = DEVICE_DT_GET(DT_NODELABEL(gpio0)), .pin = PIN_SDI, .dt_flags = GPIO_ACTIVE_HIGH };

struct nv_cmd { uint8_t cmd; uint8_t data; };

static const struct nv_cmd init_table[] = {
#include "nv3052_table.inc"
};

static inline void bit_out(int dc_or_bit)
{
	gpio_pin_set_dt(&clk, 0);
	gpio_pin_set_dt(&sdi, dc_or_bit);
	gpio_pin_set_dt(&clk, 1);
}

static void send9(bool is_data, uint8_t v)
{
	gpio_pin_set_dt(&cs, 0);
	bit_out(is_data ? 1 : 0);
	for (int i = 0; i < 8; i++) {
		bit_out((v & 0x80) ? 1 : 0);
		v <<= 1;
	}
	gpio_pin_set_dt(&cs, 1);
}

int nv3052_init(void)
{
	const struct gpio_dt_spec *pins[] = { &cs, &clk, &sdi };

	for (size_t i = 0; i < ARRAY_SIZE(pins); i++) {
		if (!gpio_is_ready_dt(pins[i])) {
			return -ENODEV;
		}
		gpio_pin_configure_dt(pins[i], GPIO_OUTPUT_ACTIVE);
	}
	/* idle: CS high, CLK high */
	gpio_pin_set_dt(&cs, 1);
	gpio_pin_set_dt(&clk, 1);

	for (size_t i = 0; i < ARRAY_SIZE(init_table); i++) {
		send9(false, init_table[i].cmd);
		send9(true, init_table[i].data);
	}

	send9(false, 0x11);          /* sleep out */
	k_msleep(120);
	send9(false, 0x29);          /* display on */
	k_msleep(20);
	return 0;
}
```

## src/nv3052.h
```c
#ifndef NV3052_H_
#define NV3052_H_

#include <zephyr/device.h>

/* Bit-banged 9-bit SPI init of the panel's NV3052 controller (CS=14, SDI=12, SCK=13). */
int nv3052_init(void);

#endif
```

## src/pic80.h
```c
#ifndef PIC80_H_
#define PIC80_H_
#include <stdint.h>
#define PIC80_BYTES (80 * 80 * 2)
extern const uint8_t pic_80x80[PIC80_BYTES];
#endif
```
